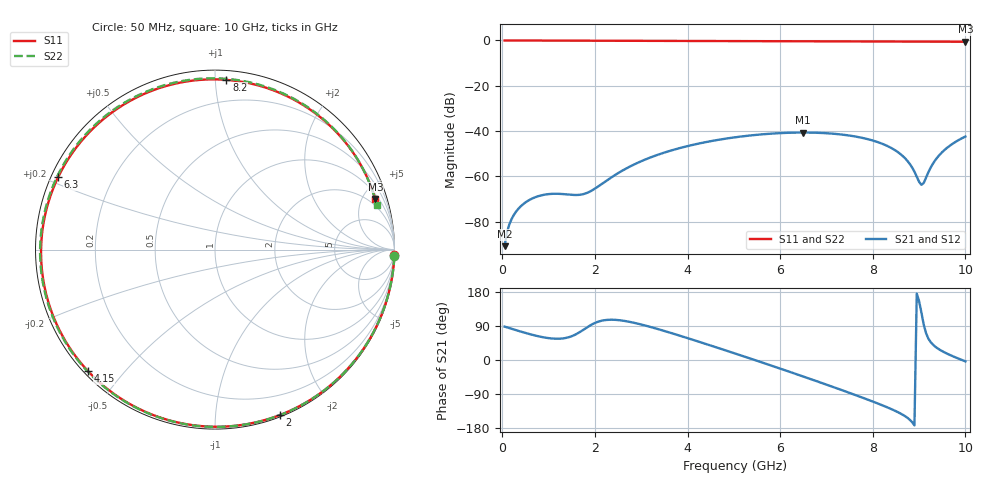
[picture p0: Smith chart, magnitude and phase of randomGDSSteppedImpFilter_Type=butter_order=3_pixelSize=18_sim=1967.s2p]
! freq	dB(S11)	phase(S11)	dB(S12)	phase(S12)
!  dB(S21)	phase(S21)	dB(S22)	phase(S22)
!S-par simulation data
#  GHz  S  DB  R 50
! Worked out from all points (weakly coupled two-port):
!   200 points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, 50 MHz to 10 GHz, reference 50 ohm
!   highest |S21| = -40.61 dB at 6.5 GHz (marker M1); lowest = -90.7 dB at 50 MHz (marker M2)
!   lowest |S11| = -0.6 dB at 10 GHz (marker M3), VSWR 30.62, Z = 67.6 + j311 ohm
!   |S11| at or under -10 dB: nowhere
!   |S22| runs from -0.6 to 0.0 dB; largest |S21 - S12| = 0
!   S11 on the Smith chart (normalised r, x): 50 MHz: 0, -64; 2 GHz: 0.02, -1.46; 4.15 GHz: 0.01, -0.40; 6.3 GHz: 0.02, +0.22; 8.2 GHz: 0.06, +1.07; 10 GHz: 1.35, +6.21
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0.05  -0.00 -1.8  -90.74 88.1  -90.74 88.1  -0.00 -2.2
0.15  -0.01 -5.3  -81.25 84.3  -81.25 84.3  -0.01 -6.4
0.4  -0.02 -14.1  -73.12 75.0  -73.12 75.0  -0.02 -17.0
0.75  -0.03 -26.3  -68.87 63.4  -68.87 63.4  -0.04 -31.7
1.25  -0.05 -43.6  -67.67 56.3  -67.67 56.3  -0.06 -52.0
1.75  -0.08 -60.4  -67.78 79.7  -67.78 79.7  -0.09 -71.5
2  -0.09 -68.7  -65.36 97.7  -65.36 97.7  -0.10 -80.8
2.65  -0.11 -89.8  -56.76 102.9  -56.76 102.9  -0.12 -103.9
3.4  -0.14 -113.3  -50.13 80.2  -50.13 80.2  -0.15 -128.6
4.15  -0.18 -136.4  -45.88 52.0  -45.88 52.0  -0.18 -152.0
5.05  -0.24 -164.3  -42.65 16.2  -42.65 16.2  -0.22 -179.0
5.7  -0.28 175.1  -41.26 -10.2  -41.26 -10.2  -0.26 161.5
6.3  -0.33 155.3  -40.66 -35.2  -40.66 -35.2  -0.30 143.1
6.5  -0.35 148.5  -40.61 -43.6  -40.61 -43.6  -0.31 136.9
6.7  -0.36 141.5  -40.66 -52.1  -40.66 -52.1  -0.32 130.6
7.5  -0.42 112.7  -41.95 -86.9  -41.95 -86.9  -0.38 104.4
8.2  -0.47 86.2  -45.53 -119.2  -45.53 -119.2  -0.42 80.4
8.35  -0.47 80.4  -46.89 -126.8  -46.89 -126.8  -0.43 75.1
8.75  -0.50 64.8  -53.16 -152.7  -53.16 -152.7  -0.46 60.8
9.05  -0.51 53.2  -63.68 125.6  -63.68 125.6  -0.49 50.0
9.45  -0.53 37.9  -50.28 26.7  -50.28 26.7  -0.53 35.4
10  -0.57 17.5  -42.37 -3.6  -42.37 -3.6  -0.59 15.3
